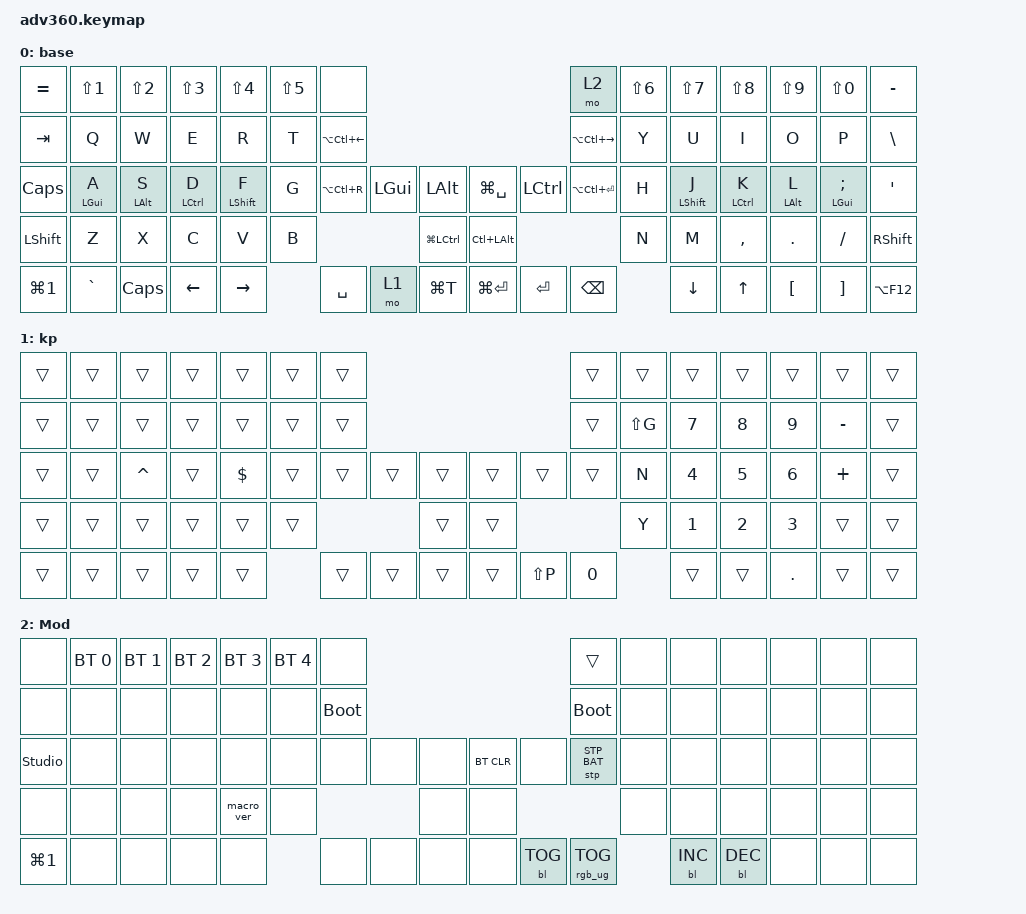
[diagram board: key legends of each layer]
#include <dt-bindings/zmk/stp.h>
#include <behaviors.dtsi>
#include <dt-bindings/zmk/backlight.h>
#include <dt-bindings/zmk/bt.h>
#include <dt-bindings/zmk/keys.h>
#include <dt-bindings/zmk/rgb.h>

/* Key positions for positional hold-tap (Bilateral Combinations) */
// All left hand keys (including left thumb cluster)

#define KEYS_L 0 1 2 3 4 5 6 14 15 16 17 18 19 20 28 29 30 31 32 33 34 35 36 46 47 48 49 50 51 52 60 61 62 63 64 65 66 67

// All right hand keys (including right thumb cluster)

#define KEYS_R 7 8 9 10 11 12 13 21 22 23 24 25 26 27 37 38 39 40 41 42 43 44 45 53 54 55 56 57 58 59 68 69 70 71 72 73 74 75

// Thumb keys (for exceptions, if needed)

#define THUMBS 35 36 52 65 66 67 37 38 53 68 69 70

/ {
    behaviors {
        #include "macros.dtsi"
        #include "version.dtsi"

        // -----------------------------------------------------------------------------------------
        // 1. CONFIG FOR PINKIES: Keys A and ; (Alt)
        // -----------------------------------------------------------------------------------------
        // Calibrated timing plus a small margin, with a strict positional filter.

        hm_l_pinky: home_row_mod_left_pinky {
            compatible = "zmk,behavior-hold-tap";
            #binding-cells = <2>;
            flavor = "balanced";
            tapping-term-ms = <220>;
            quick-tap-ms = <230>;
            require-prior-idle-ms = <150>;
            bindings = <&kp>, <&kp>;

            hold-trigger-key-positions = <KEYS_R THUMBS>;
        };

        hm_r_pinky: home_row_mod_right_pinky {
            compatible = "zmk,behavior-hold-tap";
            #binding-cells = <2>;
            flavor = "balanced";
            tapping-term-ms = <220>;
            quick-tap-ms = <230>;
            require-prior-idle-ms = <150>;
            bindings = <&kp>, <&kp>;

            hold-trigger-key-positions = <KEYS_L THUMBS>;
        };

        // -----------------------------------------------------------------------------------------
        // 2. CONFIG FOR RING FINGERS: S and L (GUI)
        // -----------------------------------------------------------------------------------------
        // Calibrated timing with a more protective prior-idle window.

        hm_l_ring: home_row_mod_left_ring {
            compatible = "zmk,behavior-hold-tap";
            #binding-cells = <2>;
            flavor = "balanced";
            tapping-term-ms = <230>;
            quick-tap-ms = <230>;
            require-prior-idle-ms = <125>;
            bindings = <&kp>, <&kp>;

            hold-trigger-key-positions = <KEYS_R THUMBS>;
        };

        hm_r_ring: home_row_mod_right_ring {
            compatible = "zmk,behavior-hold-tap";
            #binding-cells = <2>;
            flavor = "balanced";
            tapping-term-ms = <230>;
            quick-tap-ms = <230>;
            require-prior-idle-ms = <125>;
            bindings = <&kp>, <&kp>;

            hold-trigger-key-positions = <KEYS_L THUMBS>;
        };

        // -----------------------------------------------------------------------------------------
        // 3. CONFIG FOR INDEX FINGERS: F and J (Ctrl)
        // -----------------------------------------------------------------------------------------
        // Calibrated timing with the shortest prior-idle window for fast rolls to G and H.

        hm_l_index: home_row_mod_left_index {
            compatible = "zmk,behavior-hold-tap";
            #binding-cells = <2>;
            flavor = "balanced";
            tapping-term-ms = <230>;
            quick-tap-ms = <230>;
            require-prior-idle-ms = <100>;
            bindings = <&kp>, <&kp>;

            hold-trigger-key-positions = <KEYS_R THUMBS>;
        };

        hm_r_index: home_row_mod_right_index {
            compatible = "zmk,behavior-hold-tap";
            #binding-cells = <2>;
            flavor = "balanced";
            tapping-term-ms = <230>;
            quick-tap-ms = <230>;
            require-prior-idle-ms = <100>;
            bindings = <&kp>, <&kp>;

            hold-trigger-key-positions = <KEYS_L THUMBS>;
        };
    };

    combos {
        compatible = "zmk,combos";

        escape {
            bindings = <&esc_en>;
            key-positions = <16 17>;
            layers = <0 1>;
            require-prior-idle-ms = <100>;
            timeout-ms = <40>;
        };

        d_quotes {
            bindings = <&kp LS(DOUBLE_QUOTES)>;
            key-positions = <48 49>;
            require-prior-idle-ms = <100>;
            timeout-ms = <40>;
        };

        s_quotes {
            bindings = <&kp SINGLE_QUOTE>;
            key-positions = <57 56>;
            require-prior-idle-ms = <100>;
            timeout-ms = <40>;
        };

        lparen {
            bindings = <&kp LEFT_PARENTHESIS>;
            key-positions = <23 24>;
            require-prior-idle-ms = <100>;
            timeout-ms = <40>;
        };

        lcurly {
            bindings = <&kp LEFT_BRACE>;
            key-positions = <55 56>;
            require-prior-idle-ms = <100>;
            timeout-ms = <40>;
        };

        lbracket {
            bindings = <&kp LEFT_BRACKET>;
            key-positions = <49 50>;
            require-prior-idle-ms = <100>;
            timeout-ms = <40>;
        };
    };

    macros {
        to_en: to_en {
            compatible = "zmk,behavior-macro";
            #binding-cells = <0>;
            bindings = <&kp LC(LS(N1))>;
        };

        esc_en: esc_en {
            compatible = "zmk,behavior-macro";
            #binding-cells = <0>;
            bindings = <&kp ESCAPE &to_en>;
        };
    };

    // ════════════════════════════════════════════════════════════════════
    // Since 2026-08-18 this firmware is a QWERTY pass-through: every letter
    // binding names the PHYSICAL key position, and the OS renders Colemak-DH
    // Matrix on top (macOS: "Colemak DH Matrix" bundle; Dell: xkb
    // us(colemak_dh_ortho)). Russian is an OS concern too: Caps (left of A)
    // toggles the language on both OSes (xkb grp:caps_toggle on Dell, the
    // caps-switch option on macOS), while to_en/esc_en send Ctrl+Shift+1 as
    // the absolute return to EN (Kawa on macOS, switch-layout bind in niri).
    // The firmware holds no language state at all.
    //
    // To emit letter X, bind the physical key the OS maps to X — e.g. the
    // vim-style k/j in the keypad layer are physical N/Y.
    // ════════════════════════════════════════════════════════════════════

    keymap {
        compatible = "zmk,keymap";

        base {
            display-name = "base";
            bindings = <
&kp EQUAL         &kp LS(N1)              &kp LS(N2)             &kp LS(N3)                  &kp LS(N4)                &kp LS(N5)  &none                                                                                         &mo 2              &kp LS(N6)  &kp LS(N7)                &kp LS(N8)                  &kp LS(N9)             &kp LS(N0)                      &kp MINUS
&kp TAB           &kp Q                   &kp W                  &kp E                       &kp R                     &kp T       &kp LA(LC(LEFT))                                                                              &kp LA(LC(RIGHT))  &kp Y       &kp U                     &kp I                       &kp O                  &kp P                           &kp BSLH
&kp CAPS          &hm_l_pinky LEFT_GUI A  &hm_l_ring LEFT_ALT S  &hm_l_index LEFT_CONTROL D  &hm_l_index LEFT_SHIFT F  &kp G       &kp LA(LC(R))     &kp LEFT_GUI  &kp LEFT_ALT              &kp LG(SPACE)     &kp LEFT_CONTROL  &kp LA(LC(ENTER))  &kp H       &hm_r_index LEFT_SHIFT J  &hm_r_index LEFT_CONTROL K  &hm_r_ring LEFT_ALT L  &hm_r_pinky LEFT_GUI SEMICOLON  &kp SQT
&kp LEFT_SHIFT    &kp Z                   &kp X                  &kp C                       &kp V                     &kp B                                       &kp LG(LEFT_CONTROL)      &kp LC(LEFT_ALT)                                       &kp N       &kp M                     &kp COMMA                   &kp DOT                &kp FSLH                        &kp RIGHT_SHIFT
&kp LG(NUMBER_1)  &kp GRAVE               &kp CAPS               &kp LEFT                    &kp RIGHT                             &kp SPACE         &mo 1         &kp LG(T)                 &kp LG(ENTER)     &kp ENTER         &kp BACKSPACE                  &kp DOWN_ARROW            &kp UP_ARROW                &kp LBKT               &kp RBKT                        &kp LA(F12)
            >;
        };

        keypad {
            display-name = "kp";
            bindings = <
&trans  &trans  &trans     &trans  &trans      &trans  &trans                                         &trans  &trans     &trans  &trans  &trans   &trans     &trans
&trans  &trans  &trans     &trans  &trans      &trans  &trans                                         &trans  &kp LS(G)  &kp N7  &kp N8  &kp N9   &kp MINUS  &trans
&trans  &trans  &kp CARET  &trans  &kp DOLLAR  &trans  &trans  &trans  &trans      &trans  &trans     &trans  &kp N      &kp N4  &kp N5  &kp N6   &kp PLUS   &trans
&trans  &trans  &trans     &trans  &trans      &trans                  &trans      &trans                     &kp Y      &kp N1  &kp N2  &kp N3   &trans     &trans
&trans  &trans  &trans     &trans  &trans              &trans  &trans  &trans      &trans  &kp LS(P)  &kp N0             &trans  &trans  &kp DOT  &trans     &trans
            >;
        };

        mod {
            display-name = "Mod";
            bindings = <
&none             &bt BT_SEL 0  &bt BT_SEL 1  &bt BT_SEL 2  &bt BT_SEL 3  &bt BT_SEL 4  &none                                                  &trans           &none  &none       &none       &none  &none  &none
&none             &none         &none         &none         &none         &none         &bootloader                                            &bootloader      &none  &none       &none       &none  &none  &none
&studio_unlock    &none         &none         &none         &none         &none         &none        &none  &none      &bt BT_CLR  &none       &stp STP_BAT     &none  &none       &none       &none  &none  &none
&none             &none         &none         &none         &macro_ver    &none                             &none      &none                                    &none  &none       &none       &none  &none  &none
&kp LG(NUMBER_1)  &none         &none         &none         &none                       &none        &none  &none      &none       &bl BL_TOG  &rgb_ug RGB_TOG         &bl BL_INC  &bl BL_DEC  &none  &none  &none
            >;
        };
    };
};
